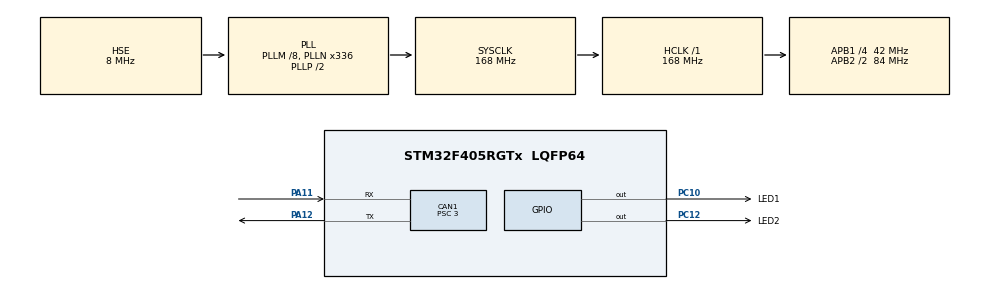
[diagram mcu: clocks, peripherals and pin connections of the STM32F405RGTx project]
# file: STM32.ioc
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CAN1.ABOM=ENABLE
CAN1.AWUM=ENABLE
CAN1.BS1=CAN_BS1_9TQ
CAN1.BS2=CAN_BS2_4TQ
CAN1.CalculateTimeBit=1000
CAN1.CalculateTimeQuantum=71.42857142857143
CAN1.Prescaler=3
Mcu.Family=STM32F4
Mcu.Name=STM32F405RGTx
Mcu.Package=LQFP64
NVIC.CAN1_RX0_IRQn=true\:0\:0\:false\:false\:true
NVIC.PriorityGroup=NVIC_PRIORITYGROUP_4
PA11.Mode=Master
PA11.Signal=CAN1_RX
PA12.Mode=Master
PA12.Signal=CAN1_TX
PA13.Mode=Serial_Wire
PA13.Signal=SYS_JTMS-SWDIO
PA14.Mode=Serial_Wire
PA14.Signal=SYS_JTCK-SWCLK
PC10.GPIO_Label=LED1
PC10.GPIO_ModeDefaultOutputPP=GPIO_MODE_OUTPUT_OD
PC10.GPIO_PuPd=GPIO_PULLUP
PC10.PinState=GPIO_PIN_SET
PC10.Signal=GPIO_Output
PC12.GPIO_Label=LED2
PC12.GPIO_ModeDefaultOutputPP=GPIO_MODE_OUTPUT_OD
PC12.GPIO_PuPd=GPIO_PULLUP
PC12.PinState=GPIO_PIN_SET
PC12.Signal=GPIO_Output
PH0-OSC_IN.Mode=HSE-External-Oscillator
PH0-OSC_IN.Signal=RCC_OSC_IN
PH1-OSC_OUT.Mode=HSE-External-Oscillator
PH1-OSC_OUT.Signal=RCC_OSC_OUT
ProjectManager.HeapSize=0x200
ProjectManager.StackSize=0x400
ProjectManager.TargetToolchain=SW4STM32
RCC.48MHZClocksFreq_Value=84000000
RCC.AHBFreq_Value=168000000
RCC.APB1CLKDivider=RCC_HCLK_DIV4
RCC.APB1Freq_Value=42000000
RCC.APB1TimFreq_Value=84000000
RCC.APB2CLKDivider=RCC_HCLK_DIV2
RCC.APB2Freq_Value=84000000
RCC.APB2TimFreq_Value=168000000
RCC.CortexFreq_Value=168000000
RCC.HCLKFreq_Value=168000000
RCC.HSE_VALUE=8000000
RCC.HSI_VALUE=16000000
RCC.LSE_VALUE=32768
RCC.PLLM=8
RCC.PLLN=336
RCC.PLLSourceVirtual=RCC_PLLSOURCE_HSE
RCC.SYSCLKFreq_VALUE=168000000
RCC.SYSCLKSource=RCC_SYSCLKSOURCE_PLLCLK
RCC.VCOOutputFreq_Value=336000000
board=STM32

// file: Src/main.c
/**
  ******************************************************************************
  * File Name          : main.c
  * Description        : Main program body
  ******************************************************************************
  *
  * COPYRIGHT(c) 2017 STMicroelectronics
  *
  * Redistribution and use in source and binary forms, with or without modification,
  * are permitted provided that the following conditions are met:
  *   1. Redistributions of source code must retain the above copyright notice,
  *      this list of conditions and the following disclaimer.
  *   2. Redistributions in binary form must reproduce the above copyright notice,
  *      this list of conditions and the following disclaimer in the documentation
  *      and/or other materials provided with the distribution.
  *   3. Neither the name of STMicroelectronics nor the names of its contributors
  *      may be used to endorse or promote products derived from this software
  *      without specific prior written permission.
  *
  * THIS SOFTWARE IS PROVIDED BY THE COPYRIGHT HOLDERS AND CONTRIBUTORS "AS IS"
  * AND ANY EXPRESS OR IMPLIED WARRANTIES, INCLUDING, BUT NOT LIMITED TO, THE
  * IMPLIED WARRANTIES OF MERCHANTABILITY AND FITNESS FOR A PARTICULAR PURPOSE ARE
  * DISCLAIMED. IN NO EVENT SHALL THE COPYRIGHT HOLDER OR CONTRIBUTORS BE LIABLE
  * FOR ANY DIRECT, INDIRECT, INCIDENTAL, SPECIAL, EXEMPLARY, OR CONSEQUENTIAL
  * DAMAGES (INCLUDING, BUT NOT LIMITED TO, PROCUREMENT OF SUBSTITUTE GOODS OR
  * SERVICES; LOSS OF USE, DATA, OR PROFITS; OR BUSINESS INTERRUPTION) HOWEVER
  * CAUSED AND ON ANY THEORY OF LIABILITY, WHETHER IN CONTRACT, STRICT LIABILITY,
  * OR TORT (INCLUDING NEGLIGENCE OR OTHERWISE) ARISING IN ANY WAY OUT OF THE USE
  * OF THIS SOFTWARE, EVEN IF ADVISED OF THE POSSIBILITY OF SUCH DAMAGE.
  *
  ******************************************************************************
  */
#include "main.h"
#include "stm32f4xx_hal.h"
#include "can.h"
#include "gpio.h"

/* USER CODE BEGIN Includes */
#include "config.h"
#include "link_layer.h"
#include "target_device.h"

#define BL_TIMEOUT 500

/* USER CODE END Includes */

/* USER CODE BEGIN PV */
/* Private variables ---------------------------------------------------------*/

/* USER CODE END PV */

void SystemClock_Config(void);
void Error_Handler(void);

/* USER CODE BEGIN PFP */
/* Private function prototypes -----------------------------------------------*/

/* USER CODE END PFP */

int main(void)
{

  /* MCU Configuration----------------------------------------------------------*/

  /* Reset of all peripherals, Initializes the Flash interface and the Systick. */
  HAL_Init();

  /* Configure the system clock */
  SystemClock_Config();

  /* Initialize all configured peripherals */
  MX_GPIO_Init();
  MX_CAN1_Init();
  /* USER CODE BEGIN 2 */
  initDevice();

  uint32_t startTime = HAL_GetTick();
  /* USER CODE END 2 */

  /* Infinite loop */
  /* USER CODE BEGIN WHILE */
  bool initBootMode = 0;
  bool flashErased = 0;

  //sendAck();

  while (1)
  {
  /* USER CODE END WHILE */

  /* USER CODE BEGIN 3 */
	  HAL_GPIO_TogglePin(LED2_GPIO_Port, LED2_Pin);
	  HAL_Delay(100);
	  HAL_GPIO_TogglePin(LED1_GPIO_Port, LED1_Pin);
	  HAL_Delay(100);

	  if((HAL_GetTick() - startTime) > BL_TIMEOUT && !bootMenu)
	  {
		  //sendStartupMessage();
		  sendAck();
		  startApplication();
	  }

	  while(bootMenu)
	  {
		  if(!initBootMode)
		  {
			  //sendAck();
			  initBootMode = 1;
			  HAL_GPIO_WritePin(LED2_GPIO_Port, LED2_Pin, 0);
			  HAL_GPIO_WritePin(LED1_GPIO_Port, LED1_Pin, 1);
		  }
		  HAL_GPIO_TogglePin(LED2_GPIO_Port, LED2_Pin);
		  HAL_GPIO_TogglePin(LED1_GPIO_Port, LED1_Pin);
		  HAL_Delay(500);
	  }

	  while(flashMode)
	  {
		  if(!flashErased)
		  {
			  HAL_GPIO_WritePin(LED2_GPIO_Port, LED2_Pin, 1);
			  HAL_GPIO_WritePin(LED1_GPIO_Port, LED1_Pin, 0);
			  HAL_Delay(500);
			  //sendStatus(STATUS_START_ERASE);
			  flashErased = 1;
			  unlockFlash();
			  clearUserAppFlash();
			  sendStatus(STATUS_ERASE_FINISHED);
			  HAL_Delay(50);
			  sendStatus(STATUS_ERASE_FINISHED);
			  HAL_Delay(50);
			  sendStatus(STATUS_ERASE_FINISHED);
		  }
		  else if(!inFlashProcess)
		  {
			  //sendStatus(STATUS_ERASE_FINISHED);
			  //HAL_Delay(500);
		  }
		  if(!inFlashProcess)
		  {
			  HAL_GPIO_TogglePin(LED2_GPIO_Port, LED2_Pin);
			  HAL_GPIO_TogglePin(LED1_GPIO_Port, LED1_Pin);
			  HAL_Delay(100);
		  }
	  }
  }
  /* USER CODE END 3 */
}

/** System Clock Configuration
*/
void SystemClock_Config(void)
{

  RCC_OscInitTypeDef RCC_OscInitStruct;
  RCC_ClkInitTypeDef RCC_ClkInitStruct;

    /**Configure the main internal regulator output voltage
    */
  __HAL_RCC_PWR_CLK_ENABLE();

  __HAL_PWR_VOLTAGESCALING_CONFIG(PWR_REGULATOR_VOLTAGE_SCALE1);

    /**Initializes the CPU, AHB and APB busses clocks
    */
  RCC_OscInitStruct.OscillatorType = RCC_OSCILLATORTYPE_HSE;
  RCC_OscInitStruct.HSEState = RCC_HSE_ON;
  RCC_OscInitStruct.PLL.PLLState = RCC_PLL_ON;
  RCC_OscInitStruct.PLL.PLLSource = RCC_PLLSOURCE_HSE;
  RCC_OscInitStruct.PLL.PLLM = 8;
  RCC_OscInitStruct.PLL.PLLN = 336;
  RCC_OscInitStruct.PLL.PLLP = RCC_PLLP_DIV2;
  RCC_OscInitStruct.PLL.PLLQ = 4;
  if (HAL_RCC_OscConfig(&RCC_OscInitStruct) != HAL_OK)
  {
    Error_Handler();
  }

    /**Initializes the CPU, AHB and APB busses clocks
    */
  RCC_ClkInitStruct.ClockType = RCC_CLOCKTYPE_HCLK|RCC_CLOCKTYPE_SYSCLK
                              |RCC_CLOCKTYPE_PCLK1|RCC_CLOCKTYPE_PCLK2;
  RCC_ClkInitStruct.SYSCLKSource = RCC_SYSCLKSOURCE_PLLCLK;
  RCC_ClkInitStruct.AHBCLKDivider = RCC_SYSCLK_DIV1;
  RCC_ClkInitStruct.APB1CLKDivider = RCC_HCLK_DIV4;
  RCC_ClkInitStruct.APB2CLKDivider = RCC_HCLK_DIV2;

  if (HAL_RCC_ClockConfig(&RCC_ClkInitStruct, FLASH_LATENCY_5) != HAL_OK)
  {
    Error_Handler();
  }

    /**Configure the Systick interrupt time
    */
  HAL_SYSTICK_Config(HAL_RCC_GetHCLKFreq()/1000);

    /**Configure the Systick
    */
  HAL_SYSTICK_CLKSourceConfig(SYSTICK_CLKSOURCE_HCLK);

  /* SysTick_IRQn interrupt configuration */
  HAL_NVIC_SetPriority(SysTick_IRQn, 0, 0);
}

void Error_Handler(void)
{
  while(1)
  {
  }
}

/************************ (C) COPYRIGHT STMicroelectronics *****END OF FILE****/
